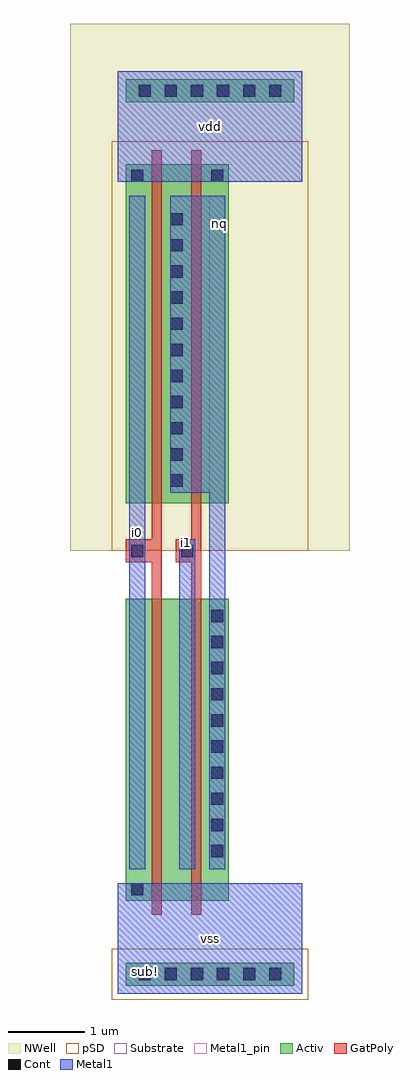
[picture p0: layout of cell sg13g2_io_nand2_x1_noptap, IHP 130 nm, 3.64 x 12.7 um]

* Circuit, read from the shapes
.subckt sg13g2_io_nand2_x1_noptap i0 i1 nq vdd vss
XM1 n1 i0 vss vss sg13_lv_nmos w=3.93u l=0.13u
XM2 nq i1 n1 vss sg13_lv_nmos w=3.93u l=0.13u
XM3 nq i0 vdd vdd sg13_lv_pmos w=4.41u l=0.13u
XM4 vdd i1 nq vdd sg13_lv_pmos w=4.41u l=0.13u
.ends

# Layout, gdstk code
import gdstk
lib = gdstk.Library(unit=1e-6, precision=1e-09)
def R(c, l, rs):  # rectangles x0, y0, x1, y1
    for r in rs: c.add(gdstk.rectangle(r[:2], r[2:], *l))
def A(c, l, x, y, w, h, nx, ny, dx, dy):  # array of equal rectangles
    R(c, l, [(x+i*dx, y+j*dy, x+i*dx+w, y+j*dy+h) for i in range(nx) for j in range(ny)])
def P(c, l, *ps):  # polygons
    for p in ps: c.add(gdstk.Polygon(p, *l))
Activ = (1, 0)
GatPoly = (5, 0)
Cont = (6, 0)
Metal1 = (8, 0)
Metal1_pin = (8, 2)
pSD = (14, 0)
NWell = (31, 0)
Substrate = (40, 0)

sg13g2_io_nand2_x1_nopta = lib.new_cell('sg13g2_io_nand2_x1_noptap')
R(sg13g2_io_nand2_x1_nopta, Activ, [(0.105,0.105,2.295,0.405), (0.105,1.21,1.445,5.14), (0.105,6.38,1.445,10.79), (0.105,11.595,2.295,11.895)])
P(sg13g2_io_nand2_x1_nopta, GatPoly, [(0.955,1.03),(0.955,5.61),(0.755,5.61),(0.755,5.91),(0.955,5.91),(0.955,10.97),(1.085,10.97),(1.085,1.03)],
  [(0.445,1.03),(0.445,5.61),(0.105,5.61),(0.105,5.91),(0.445,5.91),(0.445,10.97),(0.575,10.97),(0.575,1.03)])
A(sg13g2_io_nand2_x1_nopta, Cont, 0.27, 0.175, 0.16, 0.16, 6, 2, 0.34, 11.49)
A(sg13g2_io_nand2_x1_nopta, Cont, 1.215, 1.775, 0.16, 0.16, 1, 10, 0, 0.34)
A(sg13g2_io_nand2_x1_nopta, Cont, 0.685, 6.595, 0.16, 0.16, 1, 11, 0, 0.34)
R(sg13g2_io_nand2_x1_nopta, Cont, [(0.175,1.28,0.335,1.44), (0.175,5.68,0.335,5.84), (0.825,5.68,0.985,5.84), (0.175,10.56,0.335,10.72), (1.215,10.56,1.375,10.72)])
R(sg13g2_io_nand2_x1_nopta, Metal1, [(0,0,2.4,1.44), (0.15,1.62,0.36,10.38), (0.8,1.62,1.01,5.91), (0,10.56,2.4,12)])
P(sg13g2_io_nand2_x1_nopta, Metal1, [(1.19,1.62),(1.19,6.515),(0.685,6.515),(0.685,10.38),(1.4,10.38),(1.4,1.62)])
R(sg13g2_io_nand2_x1_nopta, Metal1_pin, [(0,0,2.4,1.44), (0.15,1.62,0.36,10.38), (0.8,1.62,1.01,5.91), (1.19,1.62,1.4,10.38), (0,10.56,2.4,12)])
R(sg13g2_io_nand2_x1_nopta, pSD, [(-0.075,-0.075,2.475,0.585), (-0.075,5.76,2.475,11.09)])
R(sg13g2_io_nand2_x1_nopta, NWell, [(-0.62,5.76,3.02,12.62)])
R(sg13g2_io_nand2_x1_nopta, Substrate, [(0.105,0.105,2.295,0.405)])
sg13g2_io_nand2_x1_nopta.add(gdstk.Label('sub!', (0.36,0.29), layer=63, texttype=0))
sg13g2_io_nand2_x1_nopta.add(gdstk.Label('i1', (0.895,5.865), layer=8, texttype=25))
sg13g2_io_nand2_x1_nopta.add(gdstk.Label('nq', (1.32,10.025), layer=8, texttype=25))
sg13g2_io_nand2_x1_nopta.add(gdstk.Label('i0', (0.255,6), layer=8, texttype=25))
sg13g2_io_nand2_x1_nopta.add(gdstk.Label('vdd', (1.2,11.28), layer=8, texttype=25))
sg13g2_io_nand2_x1_nopta.add(gdstk.Label('vss', (1.2,0.72), layer=8, texttype=25))

lib.write_gds('sg13g2_io_nand2_x1_noptap.gds')
